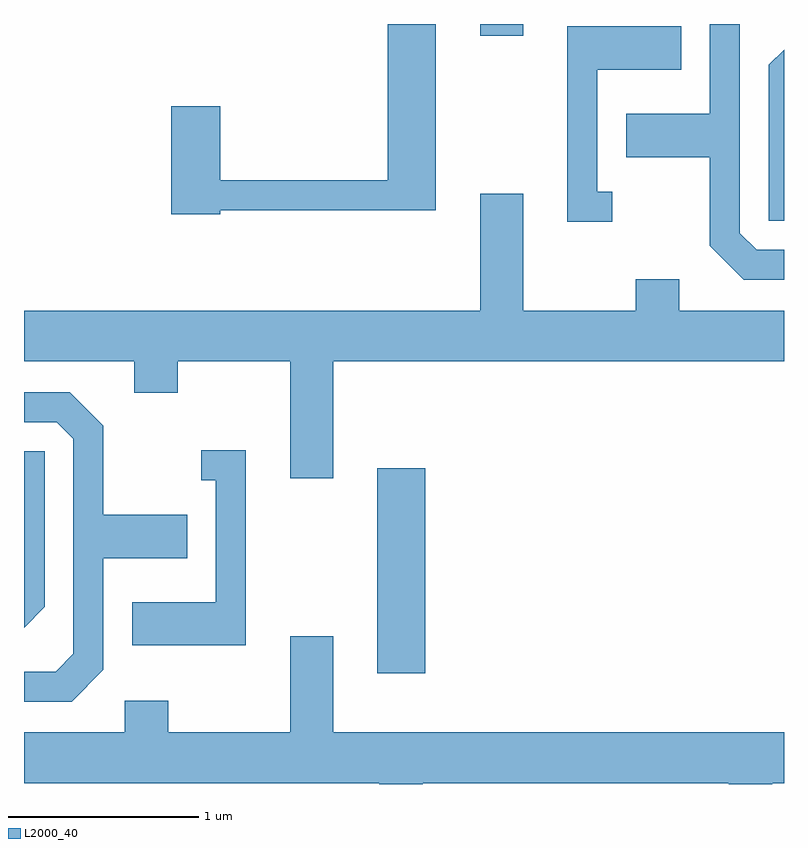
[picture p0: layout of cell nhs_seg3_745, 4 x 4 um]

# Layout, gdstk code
import gdstk
lib = gdstk.Library(unit=1e-6, precision=1e-09)
def R(c, l, rs):  # rectangles x0, y0, x1, y1
    for r in rs: c.add(gdstk.rectangle(r[:2], r[2:], *l))
def P(c, l, *ps):  # polygons
    for p in ps: c.add(gdstk.Polygon(p, *l))
L2000_40 = (2000, 40)

nhs_seg3_745 = lib.new_cell('nhs_seg3_745')
R(nhs_seg3_745, L2000_40, [(207.471,1246.476,207.724,1247.554), (208.011,1249.831,208.239,1249.892)])
P(nhs_seg3_745, L2000_40, [(206.644,1248.911),(207.779,1248.911),(207.779,1249.892),(207.526,1249.892),(207.526,1249.069),(206.644,1249.069),(206.644,1249.459),(206.386,1249.459),(206.386,1248.891),(206.644,1248.891)],
  [(209.611,1248.704),(209.467,1248.704),(209.379,1248.792),(209.379,1249.892),(209.221,1249.892),(209.221,1249.419),(208.781,1249.419),(208.781,1249.191),(209.221,1249.191),(209.221,1248.724),(209.399,1248.546),(209.611,1248.546)],
  [(208.708,1249.009),(208.629,1249.009),(208.629,1249.651),(209.069,1249.651),(209.069,1249.879),(208.471,1249.879),(208.471,1248.851),(208.708,1248.851)],
  [(209.611,1249.757),(209.531,1249.677),(209.531,1248.856),(209.611,1248.856)],
  [(207.239,1248.116),(209.611,1248.116),(209.611,1248.384),(209.059,1248.384),(209.059,1248.549),(208.831,1248.549),(208.831,1248.384),(208.239,1248.384),(208.239,1248.999),(208.011,1248.999),(208.011,1248.384),(205.611,1248.384),(205.611,1248.116),(206.191,1248.116),(206.191,1247.951),(206.419,1247.951),(206.419,1248.116),(207.011,1248.116),(207.011,1247.501),(207.239,1247.501)],
  [(206.029,1246.494),(206.029,1247.081),(206.469,1247.081),(206.469,1247.309),(206.029,1247.309),(206.029,1247.777),(205.852,1247.954),(205.611,1247.954),(205.611,1247.796),(205.784,1247.796),(205.871,1247.709),(205.871,1246.577),(205.779,1246.484),(205.611,1246.484),(205.611,1246.326),(205.862,1246.326)],
  [(206.779,1247.649),(206.543,1247.649),(206.543,1247.491),(206.621,1247.491),(206.621,1246.849),(206.181,1246.849),(206.181,1246.621),(206.779,1246.621)],
  [(205.719,1246.824),(205.719,1247.644),(205.611,1247.644),(205.611,1246.715)],
  [(207.709,1245.896),(209.321,1245.896),(209.321,1245.892),(209.549,1245.892),(209.549,1245.896),(209.611,1245.896),(209.611,1246.164),(207.239,1246.164),(207.239,1246.669),(207.011,1246.669),(207.011,1246.164),(206.369,1246.164),(206.369,1246.329),(206.141,1246.329),(206.141,1246.164),(205.611,1246.164),(205.611,1245.896),(207.481,1245.896),(207.481,1245.892),(207.709,1245.892)])

lib.write_gds('nhs_seg3_745.gds')
